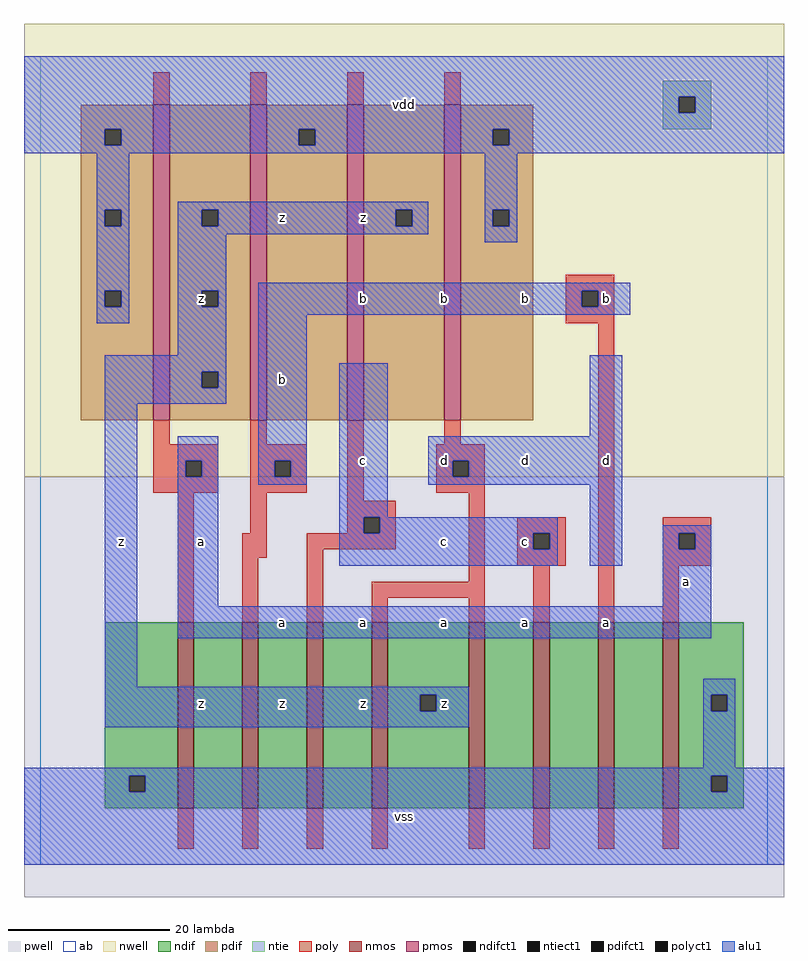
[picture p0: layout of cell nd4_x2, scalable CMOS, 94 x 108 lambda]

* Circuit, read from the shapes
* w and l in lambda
.subckt nd4_x2 a b c d vdd vss z
M1 n1 a vss VSUBS nfet w=23 l=2
M2 n2 b n1 VSUBS nfet w=23 l=2
M3 n3 c n2 VSUBS nfet w=23 l=2
M4 z d n3 VSUBS nfet w=23 l=2
M5 n4 d z VSUBS nfet w=23 l=2
M6 n5 c n4 VSUBS nfet w=23 l=2
M7 n6 b n5 VSUBS nfet w=23 l=2
M8 vss a n6 VSUBS nfet w=23 l=2
M9 z a vdd vdd pfet w=39 l=2
M10 vdd b z vdd pfet w=39 l=2
M11 z c vdd vdd pfet w=39 l=2
M12 vdd d z vdd pfet w=39 l=2
.ends

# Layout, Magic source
magic
tech scmos
<< ab >>
rect 0 0 90 100
<< nwell >>
rect -2 48 92 104
<< pwell >>
rect -2 -4 92 48
<< poly >>
rect 14 94 16 98
rect 26 94 28 98
rect 38 94 40 98
rect 50 94 52 98
rect 65 71 71 73
rect 65 69 67 71
rect 69 69 71 71
rect 65 67 71 69
rect 14 52 16 55
rect 26 52 28 55
rect 14 50 22 52
rect 14 48 18 50
rect 20 48 22 50
rect 14 46 22 48
rect 26 50 33 52
rect 26 48 29 50
rect 31 48 33 50
rect 26 46 33 48
rect 17 30 19 46
rect 26 41 28 46
rect 38 45 40 55
rect 50 52 52 55
rect 49 50 55 52
rect 49 48 51 50
rect 53 48 55 50
rect 49 46 55 48
rect 38 43 44 45
rect 38 41 40 43
rect 42 41 44 43
rect 25 38 28 41
rect 33 39 44 41
rect 25 30 27 38
rect 33 30 35 39
rect 53 35 55 46
rect 59 41 65 43
rect 59 39 61 41
rect 63 39 65 41
rect 59 37 65 39
rect 41 33 55 35
rect 41 30 43 33
rect 53 30 55 33
rect 61 30 63 37
rect 69 30 71 67
rect 77 41 83 43
rect 77 39 79 41
rect 81 39 83 41
rect 77 37 83 39
rect 77 30 79 37
rect 17 2 19 7
rect 25 2 27 7
rect 33 2 35 7
rect 41 2 43 7
rect 53 2 55 7
rect 61 2 63 7
rect 69 2 71 7
rect 77 2 79 7
<< ndif >>
rect 8 11 17 30
rect 8 9 11 11
rect 13 9 17 11
rect 8 7 17 9
rect 19 7 25 30
rect 27 7 33 30
rect 35 7 41 30
rect 43 21 53 30
rect 43 19 47 21
rect 49 19 53 21
rect 43 7 53 19
rect 55 7 61 30
rect 63 7 69 30
rect 71 7 77 30
rect 79 21 87 30
rect 79 19 83 21
rect 85 19 87 21
rect 79 11 87 19
rect 79 9 83 11
rect 85 9 87 11
rect 79 7 87 9
<< pdif >>
rect 5 91 14 94
rect 5 89 8 91
rect 10 89 14 91
rect 5 81 14 89
rect 5 79 8 81
rect 10 79 14 81
rect 5 71 14 79
rect 5 69 8 71
rect 10 69 14 71
rect 5 55 14 69
rect 16 81 26 94
rect 16 79 20 81
rect 22 79 26 81
rect 16 71 26 79
rect 16 69 20 71
rect 22 69 26 71
rect 16 61 26 69
rect 16 59 20 61
rect 22 59 26 61
rect 16 55 26 59
rect 28 91 38 94
rect 28 89 32 91
rect 34 89 38 91
rect 28 55 38 89
rect 40 81 50 94
rect 40 79 44 81
rect 46 79 50 81
rect 40 55 50 79
rect 52 91 61 94
rect 52 89 56 91
rect 58 89 61 91
rect 52 81 61 89
rect 52 79 56 81
rect 58 79 61 81
rect 52 55 61 79
<< alu1 >>
rect -2 95 92 100
rect -2 93 79 95
rect 81 93 92 95
rect -2 91 92 93
rect -2 89 8 91
rect 10 89 32 91
rect 34 89 56 91
rect 58 89 92 91
rect -2 88 92 89
rect 7 81 11 88
rect 7 79 8 81
rect 10 79 11 81
rect 7 71 11 79
rect 7 69 8 71
rect 10 69 11 71
rect 7 67 11 69
rect 17 81 48 82
rect 17 79 20 81
rect 22 79 44 81
rect 46 79 48 81
rect 17 78 48 79
rect 55 81 59 88
rect 55 79 56 81
rect 58 79 59 81
rect 17 71 23 78
rect 55 77 59 79
rect 17 69 20 71
rect 22 69 23 71
rect 17 63 23 69
rect 8 61 23 63
rect 8 59 20 61
rect 22 59 23 61
rect 8 57 23 59
rect 27 71 73 72
rect 27 69 67 71
rect 69 69 73 71
rect 27 68 73 69
rect 8 22 12 57
rect 17 50 22 53
rect 17 48 18 50
rect 20 48 22 50
rect 17 32 22 48
rect 27 50 33 68
rect 27 48 29 50
rect 31 48 33 50
rect 27 47 33 48
rect 37 43 43 62
rect 68 53 72 63
rect 48 50 72 53
rect 48 48 51 50
rect 53 48 72 50
rect 48 47 72 48
rect 37 41 40 43
rect 42 41 64 43
rect 37 39 61 41
rect 63 39 64 41
rect 37 37 64 39
rect 68 37 72 47
rect 77 41 83 42
rect 77 39 79 41
rect 81 39 83 41
rect 77 32 83 39
rect 17 28 83 32
rect 8 21 53 22
rect 8 19 47 21
rect 49 19 53 21
rect 8 17 53 19
rect 82 21 86 23
rect 82 19 83 21
rect 85 19 86 21
rect 82 12 86 19
rect -2 11 92 12
rect -2 9 11 11
rect 13 9 83 11
rect 85 9 92 11
rect -2 0 92 9
<< ntie >>
rect 77 95 83 97
rect 77 93 79 95
rect 81 93 83 95
rect 77 91 83 93
<< nmos >>
rect 17 7 19 30
rect 25 7 27 30
rect 33 7 35 30
rect 41 7 43 30
rect 53 7 55 30
rect 61 7 63 30
rect 69 7 71 30
rect 77 7 79 30
<< pmos >>
rect 14 55 16 94
rect 26 55 28 94
rect 38 55 40 94
rect 50 55 52 94
<< polyct1 >>
rect 67 69 69 71
rect 18 48 20 50
rect 29 48 31 50
rect 51 48 53 50
rect 40 41 42 43
rect 61 39 63 41
rect 79 39 81 41
<< ndifct1 >>
rect 11 9 13 11
rect 47 19 49 21
rect 83 19 85 21
rect 83 9 85 11
<< ntiect1 >>
rect 79 93 81 95
<< pdifct1 >>
rect 8 89 10 91
rect 8 79 10 81
rect 8 69 10 71
rect 20 79 22 81
rect 20 69 22 71
rect 20 59 22 61
rect 32 89 34 91
rect 44 79 46 81
rect 56 89 58 91
rect 56 79 58 81
<< labels >>
rlabel alu1 10 40 10 40 6 z
rlabel alu1 30 20 30 20 6 z
rlabel alu1 20 20 20 20 6 z
rlabel alu1 30 30 30 30 6 a
rlabel alu1 20 40 20 40 6 a
rlabel alu1 30 60 30 60 6 b
rlabel alu1 20 70 20 70 6 z
rlabel alu1 30 80 30 80 6 z
rlabel alu1 45 6 45 6 6 vss
rlabel alu1 40 20 40 20 6 z
rlabel alu1 50 20 50 20 6 z
rlabel alu1 40 30 40 30 6 a
rlabel alu1 50 30 50 30 6 a
rlabel alu1 50 40 50 40 6 c
rlabel alu1 40 50 40 50 6 c
rlabel alu1 50 50 50 50 6 d
rlabel alu1 50 70 50 70 6 b
rlabel alu1 40 70 40 70 6 b
rlabel alu1 40 80 40 80 6 z
rlabel alu1 45 94 45 94 6 vdd
rlabel alu1 60 30 60 30 6 a
rlabel alu1 70 30 70 30 6 a
rlabel alu1 60 40 60 40 6 c
rlabel alu1 70 50 70 50 6 d
rlabel alu1 60 50 60 50 6 d
rlabel alu1 70 70 70 70 6 b
rlabel alu1 60 70 60 70 6 b
rlabel alu1 80 35 80 35 6 a
<< end >>
